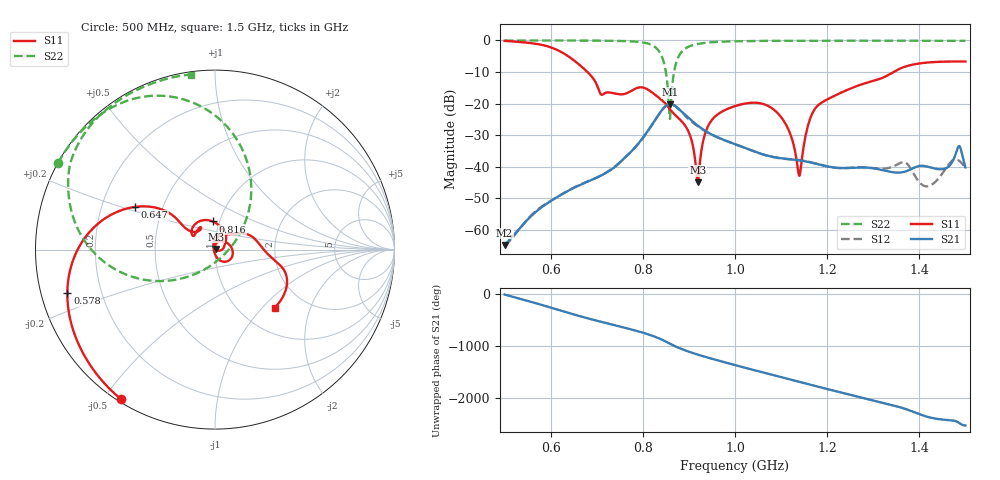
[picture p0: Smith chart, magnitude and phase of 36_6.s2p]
! TOUCHSTONE file generated by CST MICROWAVE STUDIO
! Date and time: Sat Oct 24 11:49:41 2020
! Project name: Scenario_1_Circular_Tissue_out_of_Line.cst
! Parameters = {dy1=260.935; L_HA=400; MT=2.54; Rad_Dielectric=30; Rad_Lower=7.3; Rad_Upper=30; a_HA=580; a_WG=246; b_HA=500; b_WG=121; c_HA=0; c_WG=187; d_feed=85; dx1=1039; h_feed=15; h_lower=18; h_upper=40}
! Header version: 2018
! Port assignment regex: !\s*Touchstone port\s*([0-9]+)\s*=\s*(CST MWS port|CST DS port)\s*([0-9]+|Zmin|Zmax)\s*\(\"(.*)\"\)(\s*mode\s*([0-9]+))?.*
! Touchstone port assignment:
! Touchstone port 1 = CST MWS port 1 ("")
! Touchstone port 2 = CST MWS port 2 ("")
# GHz S DB R 50
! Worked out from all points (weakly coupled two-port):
!   1001 points, 500 MHz to 1.5 GHz, reference 50 ohm
!   highest |S21| = -20.21 dB at 860 MHz (marker M1); lowest = -64.9 dB at 500 MHz (marker M2)
!   lowest |S11| = -45.0 dB at 919 MHz (marker M3), VSWR 1.01, Z = 50.5 + j0.317 ohm
!   |S11| at or under -10 dB: 679.7 MHz to 1.344 GHz (664.5 MHz wide, 65.7 % of centre)
!   |S22| runs from -24.9 to 0.0 dB; largest |S21 - S12| = 0.011
!   S11 on the Smith chart (normalised r, x): 500 MHz: 0.01, -0.55; 578 MHz: 0.08, -0.14; 647 MHz: 0.35, +0.22; 816 MHz: 0.93, +0.30; 1.5 GHz: 1.42, -1.18
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0.5  -0.14 -122.3  -64.86 -13.0  -65.24 -13.1  -0.01 151.1
0.578  -1.33 -163.5  -53.18 153.1  -52.93 152.7  -0.02 145.8
0.647  -5.94 151.8  -47.00 -28.9  -46.90 -29.6  -0.03 140.2
0.667  -8.30 143.6  -45.63 -78.9  -45.51 -80.5  -0.04 138.4
0.711  -17.25 128.9  -42.72 178.1  -42.68 178.1  -0.08 133.5
0.816  -16.06 94.6  -27.59 -73.1  -27.61 -73.1  -1.24 103.3
0.834  -18.08 72.5  -23.60 -133.3  -23.61 -133.3  -3.19 84.8
0.86  -22.02 40.0  -20.21 114.7  -20.20 114.8  -22.60 -91.9
0.878  -24.73 23.3  -21.83 39.0  -21.71 38.8  -4.99 -168.5
0.902  -29.98 -8.4  -24.92 -41.5  -25.29 -41.7  -1.81 167.0
0.919  -44.98 33.9  -27.00 -90.4  -27.21 -90.3  -1.13 158.6
0.944  -26.49 67.2  -29.40 -155.8  -29.46 -155.9  -0.63 150.7
1  -20.83 8.9  -32.89 67.4  -32.93 67.5  -0.28 140.3
1.091  -22.83 -62.0  -37.16 -143.0  -37.23 -144.0  -0.12 130.5
1.119  -29.30 -83.1  -37.66 151.9  -37.68 151.7  -0.11 128.1
1.139  -42.85 -159.1  -38.00 105.0  -37.95 105.2  -0.11 126.4
1.167  -23.38 80.7  -38.79 40.4  -38.71 40.5  -0.10 124.2
1.334  -10.86 -3.3  -41.57 32.5  -40.43 46.3  -0.09 111.5
1.37  -8.28 -14.8  -41.56 -58.1  -38.75 -49.8  -0.09 108.7
1.416  -7.03 -25.8  -39.96 154.6  -46.28 169.6  -0.10 105.0
1.486  -6.67 -41.7  -33.48 34.8  -38.13 13.3  -0.13 99.2
1.5  -6.67 -44.3  -40.25 -15.9  -40.26 -15.9  -0.13 97.9
